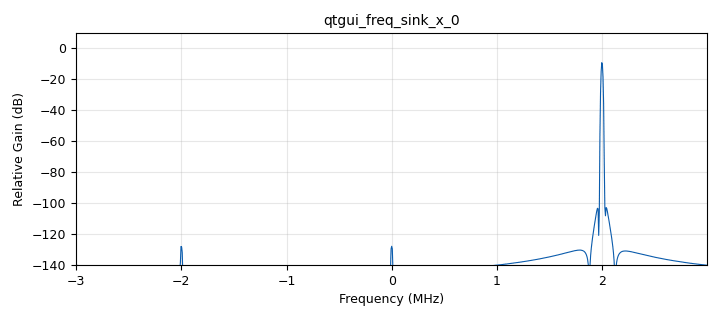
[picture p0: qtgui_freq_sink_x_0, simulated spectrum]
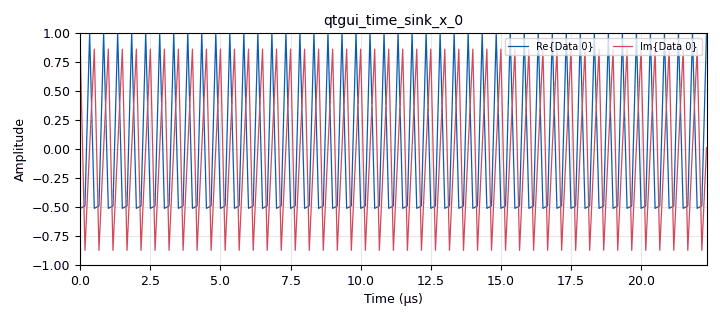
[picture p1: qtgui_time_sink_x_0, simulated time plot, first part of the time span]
<?xml version='1.0' encoding='utf-8'?>
<?grc format='1' created='3.7.11'?>
<flow_graph>
<block>
<key>options</key>
<param><key>id</key><value>transmit</value></param>
<param><key>generate_options</key><value>qt_gui</value></param>
</block>
<block>
<key>variable</key>
<param><key>id</key><value>freq</value></param>
<param><key>value</key><value>2e6</value></param>
</block>
<block>
<key>variable</key>
<param><key>id</key><value>samp_rate</value></param>
<param><key>value</key><value>6e6</value></param>
</block>
<block>
<key>analog_sig_source_x</key>
<param><key>id</key><value>analog_sig_source_x_0</value></param>
<param><key>amp</key><value>1</value></param>
<param><key>freq</key><value>freq</value></param>
<param><key>offset</key><value>0</value></param>
<param><key>type</key><value>complex</value></param>
<param><key>samp_rate</key><value>samp_rate</value></param>
<param><key>waveform</key><value>analog.GR_COS_WAVE</value></param>
</block>
<block>
<key>pluto_sink</key>
<param><key>id</key><value>pluto_sink_0</value></param>
<param><key>attenuation</key><value>10.0</value></param>
<param><key>buffer_size</key><value>0x8000</value></param>
<param><key>cyclic</key><value>False</value></param>
<param><key>auto_filter</key><value>True</value></param>
<param><key>filter</key><value></value></param>
<param><key>uri</key><value>ip:pluto.local</value></param>
<param><key>frequency</key><value>2400000000</value></param>
<param><key>bandwidth</key><value>freq</value></param>
<param><key>samplerate</key><value>samp_rate</value></param>
</block>
<block>
<key>qtgui_freq_sink_x</key>
<param><key>id</key><value>qtgui_freq_sink_x_0</value></param>
<param><key>bw</key><value>samp_rate</value></param>
<param><key>fc</key><value>0</value></param>
<param><key>fftsize</key><value>1024</value></param>
<param><key>showports</key><value>True</value></param>
<param><key>type</key><value>complex</value></param>
<param><key>wintype</key><value>firdes.WIN_BLACKMAN_hARRIS</value></param>
</block>
<block>
<key>qtgui_time_sink_x</key>
<param><key>id</key><value>qtgui_time_sink_x_0</value></param>
<param><key>color1</key><value>"blue"</value></param>
<param><key>label1</key><value></value></param>
<param><key>color2</key><value>"red"</value></param>
<param><key>label2</key><value></value></param>
<param><key>size</key><value>1024</value></param>
<param><key>srate</key><value>samp_rate</value></param>
<param><key>type</key><value>complex</value></param>
</block>
<connection><source_block_id>analog_sig_source_x_0</source_block_id><sink_block_id>pluto_sink_0</sink_block_id><source_key>0</source_key><sink_key>0</sink_key></connection>
<connection><source_block_id>analog_sig_source_x_0</source_block_id><sink_block_id>qtgui_freq_sink_x_0</sink_block_id><source_key>0</source_key><sink_key>0</sink_key></connection>
<connection><source_block_id>analog_sig_source_x_0</source_block_id><sink_block_id>qtgui_time_sink_x_0</sink_block_id><source_key>0</source_key><sink_key>0</sink_key></connection>
</flow_graph>
